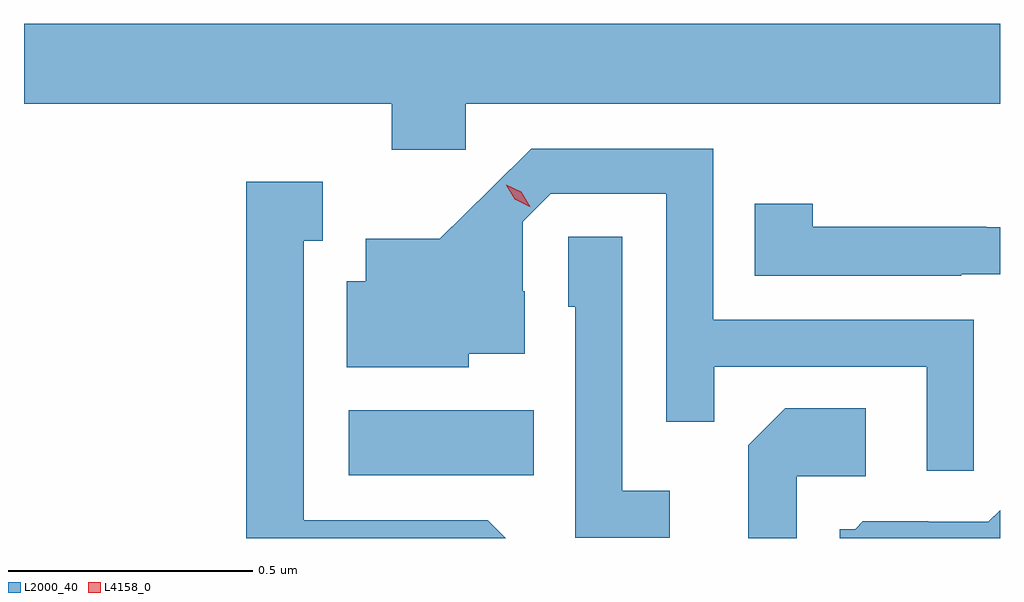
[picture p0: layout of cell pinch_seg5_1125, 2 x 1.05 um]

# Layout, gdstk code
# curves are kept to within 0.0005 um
import gdstk
lib = gdstk.Library(unit=1e-6, precision=1e-09)
def R(c, l, rs):  # rectangles x0, y0, x1, y1
    for r in rs: c.add(gdstk.rectangle(r[:2], r[2:], *l))
def P(c, l, *ps):  # polygons
    for p in ps: c.add(gdstk.Polygon(p, *l))
L2000_40 = (2000, 40)
L4158_0 = (4158, 0)

pinch_seg5_1125 = lib.new_cell('pinch_seg5_1125')
R(pinch_seg5_1125, L2000_40, [(802.266,867.986,802.646,868.12)])
P(pinch_seg5_1125, L2000_40, [(802.506,868.748),(803.601,868.748),(803.601,868.912),(801.601,868.912),(801.601,868.748),(802.355,868.748),(802.355,868.653),(802.506,868.653)],
  [(803.547,868.305),(803.013,868.305),(803.013,868.656),(802.64,868.656),(802.453,868.471),(802.301,868.471),(802.301,868.384),(802.262,868.384),(802.262,868.208),(802.512,868.208),(802.512,868.235),(802.627,868.235),(802.627,868.364),(802.623,868.364),(802.623,868.506),(802.68,868.563),(802.917,868.563),(802.917,868.096),(803.015,868.096),(803.015,868.209),(803.451,868.209),(803.451,867.996),(803.547,867.996)],
  [(802.551,867.894),(802.174,867.894),(802.174,868.467),(802.213,868.467),(802.213,868.588),(802.056,868.588),(802.056,867.857),(802.588,867.857)],
  [(803.522,868.398),(803.601,868.398),(803.601,868.495),(803.573,868.495),(803.573,868.496),(803.217,868.496),(803.217,868.543),(803.098,868.543),(803.098,868.395),(803.522,868.395)],
  [(802.924,867.955),(802.827,867.955),(802.827,868.475),(802.716,868.475),(802.716,868.332),(802.731,868.332),(802.731,867.858),(802.924,867.858)],
  [(803.184,867.984),(803.326,867.984),(803.326,868.124),(803.161,868.124),(803.085,868.048),(803.085,867.857),(803.184,867.857)],
  [(803.601,867.915),(803.577,867.891),(803.454,867.891),(803.454,867.892),(803.32,867.892),(803.304,867.876),(803.273,867.876),(803.273,867.857),(803.601,867.857)])
P(pinch_seg5_1125, L4158_0, [(802.637,868.537),(802.607,868.552),(802.589,868.581),(802.589,868.582),(802.589,868.582),(802.62,868.567),(802.638,868.537),(802.638,868.537)])

lib.write_gds('pinch_seg5_1125.gds')
